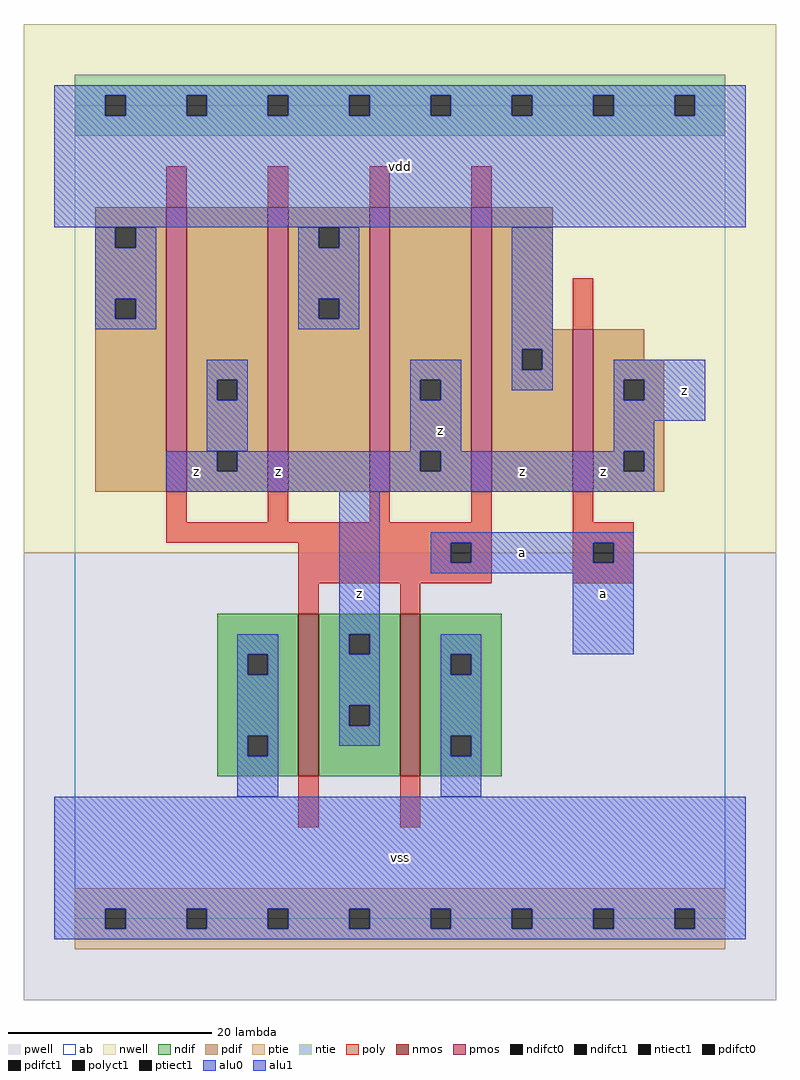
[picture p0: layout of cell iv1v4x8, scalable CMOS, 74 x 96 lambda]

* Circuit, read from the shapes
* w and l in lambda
.subckt iv1v4x8 a vdd vss z
M1 z a vss vss nfet w=16 l=2 m=2
M2 z a vdd vdd pfet w=28 l=2 m=4
M3 z a vdd vdd pfet w=16 l=2
.ends

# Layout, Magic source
magic
tech scmos
<< ab >>
rect 0 0 64 80
<< nwell >>
rect -5 36 69 88
<< pwell >>
rect -5 -8 69 36
<< poly >>
rect 9 70 11 74
rect 19 70 21 74
rect 29 70 31 74
rect 39 70 41 74
rect 49 58 51 63
rect 9 39 11 42
rect 19 39 21 42
rect 29 39 31 42
rect 39 39 41 42
rect 9 37 41 39
rect 22 35 37 37
rect 39 35 41 37
rect 22 33 41 35
rect 49 39 51 42
rect 49 37 55 39
rect 49 35 51 37
rect 53 35 55 37
rect 49 33 55 35
rect 22 30 24 33
rect 32 30 34 33
rect 22 9 24 14
rect 32 9 34 14
<< ndif >>
rect 14 26 22 30
rect 14 24 17 26
rect 19 24 22 26
rect 14 18 22 24
rect 14 16 17 18
rect 19 16 22 18
rect 14 14 22 16
rect 24 28 32 30
rect 24 26 27 28
rect 29 26 32 28
rect 24 21 32 26
rect 24 19 27 21
rect 29 19 32 21
rect 24 14 32 19
rect 34 26 42 30
rect 34 24 37 26
rect 39 24 42 26
rect 34 18 42 24
rect 34 16 37 18
rect 39 16 42 18
rect 34 14 42 16
<< pdif >>
rect 2 68 9 70
rect 2 66 4 68
rect 6 66 9 68
rect 2 61 9 66
rect 2 59 4 61
rect 6 59 9 61
rect 2 42 9 59
rect 11 53 19 70
rect 11 51 14 53
rect 16 51 19 53
rect 11 46 19 51
rect 11 44 14 46
rect 16 44 19 46
rect 11 42 19 44
rect 21 68 29 70
rect 21 66 24 68
rect 26 66 29 68
rect 21 61 29 66
rect 21 59 24 61
rect 26 59 29 61
rect 21 42 29 59
rect 31 53 39 70
rect 31 51 34 53
rect 36 51 39 53
rect 31 46 39 51
rect 31 44 34 46
rect 36 44 39 46
rect 31 42 39 44
rect 41 58 47 70
rect 41 56 49 58
rect 41 54 44 56
rect 46 54 49 56
rect 41 42 49 54
rect 51 55 56 58
rect 51 53 58 55
rect 51 51 54 53
rect 56 51 58 53
rect 51 46 58 51
rect 51 44 54 46
rect 56 44 58 46
rect 51 42 58 44
<< alu1 >>
rect -2 81 66 82
rect -2 79 3 81
rect 5 79 11 81
rect 13 79 19 81
rect 21 79 27 81
rect 29 79 35 81
rect 37 79 43 81
rect 45 79 51 81
rect 53 79 59 81
rect 61 79 66 81
rect -2 68 66 79
rect 33 53 38 55
rect 33 51 34 53
rect 36 51 38 53
rect 53 53 62 55
rect 33 46 38 51
rect 53 51 54 53
rect 56 51 62 53
rect 53 49 62 51
rect 53 46 57 49
rect 9 44 14 46
rect 16 44 34 46
rect 36 44 54 46
rect 56 44 57 46
rect 9 42 57 44
rect 26 28 30 42
rect 35 37 55 38
rect 35 35 37 37
rect 39 35 51 37
rect 53 35 55 37
rect 35 34 55 35
rect 26 26 27 28
rect 29 26 30 28
rect 26 21 30 26
rect 26 19 27 21
rect 29 19 30 21
rect 26 17 30 19
rect 49 26 55 34
rect -2 1 66 12
rect -2 -1 3 1
rect 5 -1 11 1
rect 13 -1 19 1
rect 21 -1 27 1
rect 29 -1 35 1
rect 37 -1 43 1
rect 45 -1 51 1
rect 53 -1 59 1
rect 61 -1 66 1
rect -2 -2 66 -1
<< ptie >>
rect 0 1 64 3
rect 0 -1 3 1
rect 5 -1 11 1
rect 13 -1 19 1
rect 21 -1 27 1
rect 29 -1 35 1
rect 37 -1 43 1
rect 45 -1 51 1
rect 53 -1 59 1
rect 61 -1 64 1
rect 0 -3 64 -1
<< ntie >>
rect 0 81 64 83
rect 0 79 3 81
rect 5 79 11 81
rect 13 79 19 81
rect 21 79 27 81
rect 29 79 35 81
rect 37 79 43 81
rect 45 79 51 81
rect 53 79 59 81
rect 61 79 64 81
rect 0 77 64 79
<< nmos >>
rect 22 14 24 30
rect 32 14 34 30
<< pmos >>
rect 9 42 11 70
rect 19 42 21 70
rect 29 42 31 70
rect 39 42 41 70
rect 49 42 51 58
<< polyct1 >>
rect 37 35 39 37
rect 51 35 53 37
<< ndifct0 >>
rect 17 24 19 26
rect 17 16 19 18
rect 37 24 39 26
rect 37 16 39 18
<< ndifct1 >>
rect 27 26 29 28
rect 27 19 29 21
<< ntiect1 >>
rect 3 79 5 81
rect 11 79 13 81
rect 19 79 21 81
rect 27 79 29 81
rect 35 79 37 81
rect 43 79 45 81
rect 51 79 53 81
rect 59 79 61 81
<< ptiect1 >>
rect 3 -1 5 1
rect 11 -1 13 1
rect 19 -1 21 1
rect 27 -1 29 1
rect 35 -1 37 1
rect 43 -1 45 1
rect 51 -1 53 1
rect 59 -1 61 1
<< pdifct0 >>
rect 4 66 6 68
rect 4 59 6 61
rect 14 51 16 53
rect 24 66 26 68
rect 24 59 26 61
rect 44 54 46 56
<< pdifct1 >>
rect 14 44 16 46
rect 34 51 36 53
rect 34 44 36 46
rect 54 51 56 53
rect 54 44 56 46
<< alu0 >>
rect 2 66 4 68
rect 6 66 8 68
rect 2 61 8 66
rect 2 59 4 61
rect 6 59 8 61
rect 2 58 8 59
rect 22 66 24 68
rect 26 66 28 68
rect 22 61 28 66
rect 22 59 24 61
rect 26 59 28 61
rect 22 58 28 59
rect 43 56 47 68
rect 13 53 17 55
rect 13 51 14 53
rect 16 51 17 53
rect 13 46 17 51
rect 43 54 44 56
rect 46 54 47 56
rect 43 52 47 54
rect 16 26 20 28
rect 16 24 17 26
rect 19 24 20 26
rect 16 18 20 24
rect 16 16 17 18
rect 19 16 20 18
rect 36 26 40 28
rect 36 24 37 26
rect 39 24 40 26
rect 36 18 40 24
rect 16 12 20 16
rect 36 16 37 18
rect 39 16 40 18
rect 36 12 40 16
<< labels >>
rlabel alu1 12 44 12 44 6 z
rlabel alu1 28 32 28 32 6 z
rlabel alu1 20 44 20 44 6 z
rlabel alu1 32 6 32 6 6 vss
rlabel alu1 44 36 44 36 6 a
rlabel alu1 44 44 44 44 6 z
rlabel alu1 36 48 36 48 6 z
rlabel alu1 32 74 32 74 6 vdd
rlabel alu1 52 32 52 32 6 a
rlabel alu1 52 44 52 44 6 z
rlabel alu1 60 52 60 52 6 z
<< end >>
